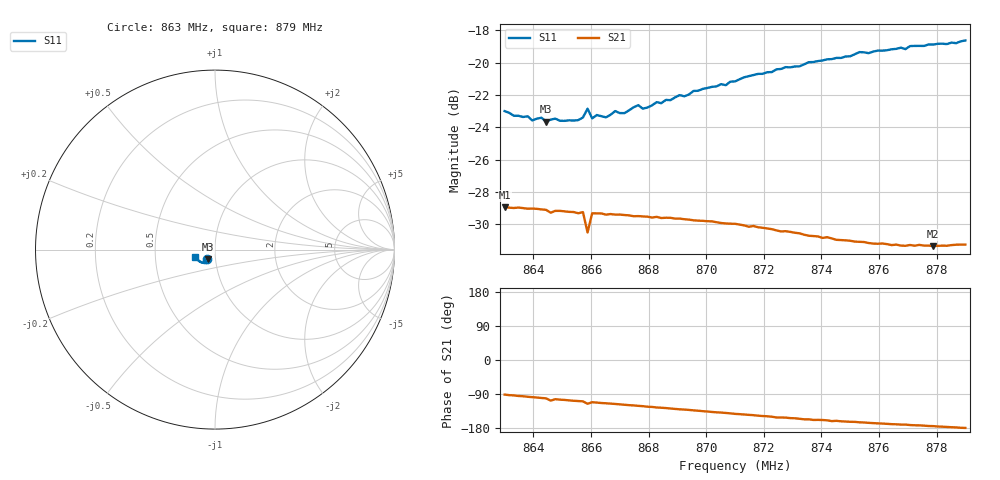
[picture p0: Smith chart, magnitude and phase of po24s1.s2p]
# HZ S RI R 50
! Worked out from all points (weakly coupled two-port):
!   101 points, 863 MHz to 879 MHz, reference 50 ohm
!   highest |S21| = -28.95 dB at 863 MHz (marker M1); lowest = -31.4 dB at 877.88 MHz (marker M2)
!   lowest |S11| = -23.6 dB at 864.44 MHz (marker M3), VSWR 1.14, Z = 46.1 - j4.97 ohm
!   |S11| at or under -10 dB: start of sweep to end of sweep
!   S12 and S22 are empty: the file has one direction only
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8.63e8  -0.0446 -0.055  -0.000814 -0.0357  0 0  0 0
8.6332e8  -0.0417 -0.0544  -0.00213 -0.0354  0 0  0 0
8.638e8  -0.0419 -0.0539  -0.00431 -0.035  0 0  0 0
8.6396e8  -0.0404 -0.0525  -0.00491 -0.035  0 0  0 0
8.6428e8  -0.0386 -0.0555  -0.00623 -0.0346  0 0  0 0
8.6444e8  -0.0379 -0.0537  -0.00678 -0.0343  0 0  0 0
8.6572e8  -0.0352 -0.0578  -0.0113 -0.0326  0 0  0 0
8.6588e8  -0.0413 -0.059  -0.0128 -0.0269  0 0  0 0
8.6604e8  -0.0347 -0.0576  -0.0125 -0.0318  0 0  0 0
8.662e8  -0.0354 -0.0591  -0.013 -0.0316  0 0  0 0
8.6652e8  -0.034 -0.0586  -0.0139 -0.0309  0 0  0 0
8.6684e8  -0.0362 -0.0609  -0.0148 -0.0304  0 0  0 0
8.6716e8  -0.0343 -0.0608  -0.0159 -0.0298  0 0  0 0
8.6764e8  -0.0367 -0.0641  -0.0172 -0.0287  0 0  0 0
8.678e8  -0.0359 -0.0625  -0.0176 -0.0284  0 0  0 0
8.6844e8  -0.0367 -0.0653  -0.0194 -0.0267  0 0  0 0
8.6956e8  -0.0421 -0.0701  -0.0221 -0.0238  0 0  0 0
8.71e8  -0.0478 -0.0733  -0.025 -0.0194  0 0  0 0
8.7372e8  -0.0685 -0.0736  -0.027 -0.0108  0 0  0 0
8.7644e8  -0.0918 -0.0608  -0.0268 -0.00505  0 0  0 0
8.7788e8  -0.1024 -0.0496  -0.0269 -0.0026  0 0  0 0
8.79e8  -0.1104 -0.0394  -0.0273 -0.000348  0 0  0 0
